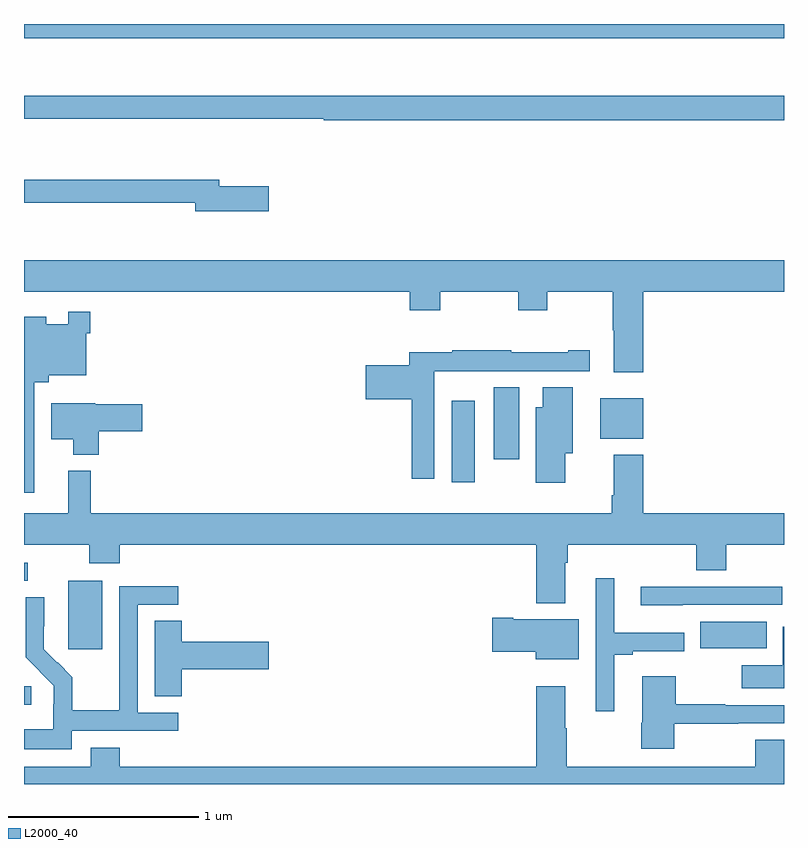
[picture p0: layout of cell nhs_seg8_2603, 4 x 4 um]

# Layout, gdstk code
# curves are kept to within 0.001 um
import gdstk
lib = gdstk.Library(unit=1e-6, precision=1e-09)
def R(c, l, rs):  # rectangles x0, y0, x1, y1
    for r in rs: c.add(gdstk.rectangle(r[:2], r[2:], *l))
def P(c, l, *ps):  # polygons
    for p in ps: c.add(gdstk.Polygon(p, *l))
L2000_40 = (2000, 40)

nhs_seg8_2603 = lib.new_cell('nhs_seg8_2603')
R(nhs_seg8_2603, L2000_40, [(275,1122.317,275.038,1122.414), (275.234,1122.609,275.413,1122.97), (278.56,1122.614,278.909,1122.754), (275,1122.969,275.02,1123.065), (277.25,1123.488,277.372,1123.918), (277.472,1123.608,277.606,1123.988), (278.033,1123.718,278.26,1123.93), (275,1125.824,279,1125.9)])
P(nhs_seg8_2603, L2000_40, [(279,1125.523),(275,1125.523),(275,1125.402),(276.578,1125.402),(276.578,1125.394),(279,1125.394)],
  [(276.289,1125.045),(276.028,1125.045),(276.028,1125.079),(275,1125.079),(275,1124.958),(275.9,1124.958),(275.9,1124.915),(276.289,1124.915)],
  [(278.258,1124.492),(279,1124.492),(279,1124.656),(275,1124.656),(275,1124.492),(277.031,1124.492),(277.031,1124.393),(277.191,1124.393),(277.191,1124.492),(277.6,1124.492),(277.6,1124.393),(277.755,1124.393),(277.755,1124.492),(278.098,1124.492),(278.098,1124.288),(278.105,1124.288),(278.105,1124.067),(278.258,1124.067)],
  [(275.055,1124.015),(275.129,1124.015),(275.129,1124.051),(275.328,1124.051),(275.328,1124.273),(275.348,1124.273),(275.348,1124.386),(275.232,1124.386),(275.232,1124.32),(275.116,1124.32),(275.116,1124.359),(275,1124.359),(275,1123.434),(275.055,1123.434)],
  [(277.158,1124.072),(277.368,1124.072),(277.368,1124.073),(277.978,1124.073),(277.978,1124.182),(277.865,1124.182),(277.865,1124.172),(277.565,1124.172),(277.565,1124.182),(277.255,1124.182),(277.255,1124.172),(277.028,1124.172),(277.028,1124.103),(276.798,1124.103),(276.798,1123.925),(277.042,1123.925),(277.042,1123.506),(277.158,1123.506)],
  [(277.849,1123.64),(277.888,1123.64),(277.888,1123.988),(277.73,1123.988),(277.73,1123.882),(277.694,1123.882),(277.694,1123.485),(277.849,1123.485)],
  [(275.393,1123.756),(275.623,1123.756),(275.623,1123.898),(275.376,1123.898),(275.376,1123.903),(275.144,1123.903),(275.144,1123.715),(275.258,1123.715),(275.258,1123.634),(275.393,1123.634)],
  [(277.849,1123.064),(277.862,1123.064),(277.862,1123.16),(278.537,1123.16),(278.537,1123.024),(278.697,1123.024),(278.697,1123.16),(279,1123.16),(279,1123.324),(278.258,1123.324),(278.258,1123.633),(278.105,1123.633),(278.105,1123.42),(278.093,1123.42),(278.093,1123.324),(275.351,1123.324),(275.351,1123.549),(275.234,1123.549),(275.234,1123.324),(275,1123.324),(275,1123.16),(275.344,1123.16),(275.344,1123.061),(275.504,1123.061),(275.504,1123.16),(277.697,1123.16),(277.697,1122.851),(277.849,1122.851)],
  [(278.107,1122.58),(278.203,1122.58),(278.203,1122.599),(278.475,1122.599),(278.475,1122.697),(278.107,1122.697),(278.107,1122.982),(278.01,1122.982),(278.01,1122.503),(278.009,1122.503),(278.009,1122.282),(278.107,1122.282)],
  [(275.25,1122.18),(275.812,1122.18),(275.812,1122.276),(275.598,1122.276),(275.598,1122.843),(275.812,1122.843),(275.812,1122.942),(275.502,1122.942),(275.502,1122.512),(275.5,1122.512),(275.5,1122.289),(275.255,1122.289),(275.255,1122.463),(275.178,1122.54),(275.175,1122.537),(275.105,1122.608),(275.106,1122.884),(275.01,1122.884),(275.01,1122.566),(275.156,1122.418),(275.156,1122.321),(275.154,1122.321),(275.154,1122.187),(275,1122.187),(275,1122.083),(275.25,1122.083)],
  [(278.466,1122.843),(278.992,1122.843),(278.992,1122.939),(278.247,1122.939),(278.247,1122.842),(278.466,1122.842)],
  [(277.921,1122.766),(277.576,1122.766),(277.576,1122.774),(277.464,1122.774),(277.464,1122.596),(277.694,1122.596),(277.694,1122.557),(277.921,1122.557)],
  [(275.831,1122.503),(276.289,1122.503),(276.289,1122.65),(275.831,1122.65),(275.831,1122.758),(275.687,1122.758),(275.687,1122.361),(275.831,1122.361)],
  [(279,1122.727),(278.994,1122.727),(278.994,1122.526),(278.778,1122.526),(278.778,1122.405),(279,1122.405)],
  [(278.422,1122.217),(278.759,1122.217),(278.759,1122.219),(279,1122.219),(279,1122.315),(278.69,1122.315),(278.69,1122.32),(278.43,1122.32),(278.43,1122.466),(278.255,1122.466),(278.255,1122.222),(278.248,1122.222),(278.248,1122.086),(278.422,1122.086)],
  [(279,1122.134),(278.848,1122.134),(278.848,1121.992),(277.857,1121.992),(277.857,1122.194),(277.849,1122.194),(277.849,1122.415),(277.697,1122.415),(277.697,1121.992),(275.504,1121.992),(275.504,1122.091),(275.351,1122.091),(275.351,1121.992),(275,1121.992),(275,1121.9),(279,1121.9)])

lib.write_gds('nhs_seg8_2603.gds')
